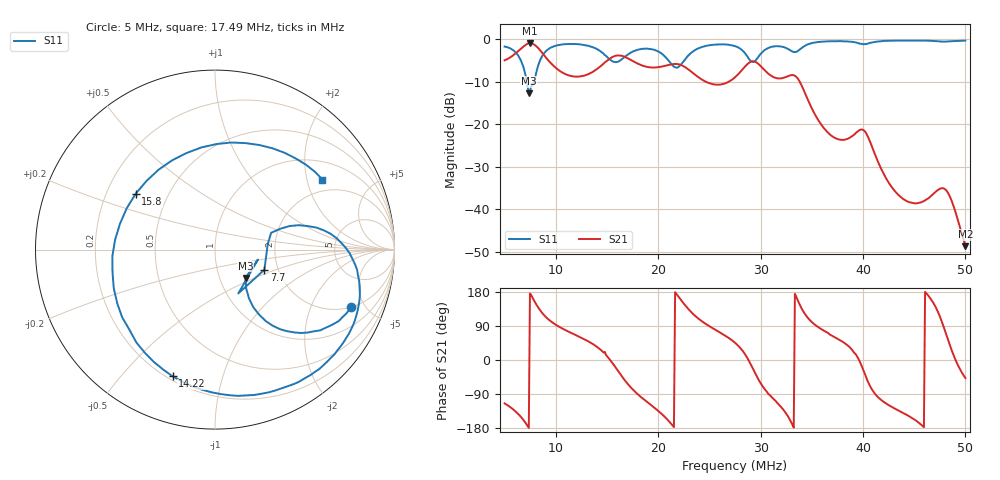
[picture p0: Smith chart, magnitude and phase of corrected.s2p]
! S11/S21 only; reverse parameters are placeholders. Device calibration unverified.
! [Saver CAL applied] C:\Users\aknya\MyProjects\rf-simulator\calibration2.cal | Ideal standards assumed | Input: NanoVNA F V2 profile | COM3 | 2026-09-08T10:53:36.4103324-04:00 | device calibration unverified
# HZ S RI R 50
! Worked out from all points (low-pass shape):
!   401 points, 5 MHz to 50 MHz, reference 50 ohm
!   highest |S21| = -0.84 dB at 7.475 MHz (marker M1); lowest = -48.7 dB at 50 MHz (marker M2)
!   |S21| within 3 dB of the highest: 5.782 MHz to 8.893 MHz (3.111 MHz wide, 42.4 % of centre); 15.87 MHz to 16.38 MHz (516.7 kHz wide, 3.2 % of centre)
!   lowest |S11| = -12.7 dB at 7.362 MHz (marker M3), VSWR 1.60, Z = 66.3 - j22.1 ohm
!   |S11| at or under -10 dB: 7.166 MHz to 7.89 MHz (723.9 kHz wide, 9.62 % of centre)
!   S12 and S22 are empty: the file has one direction only
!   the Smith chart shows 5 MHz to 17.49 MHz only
!   S11 on the Smith chart (normalised r, x): 5 MHz: 1.98, -3.98; 7.7 MHz: 1.69, -0.42; 14.22 MHz: 0.22, -0.70; 15.8 MHz: 0.33, +0.29; 17.49 MHz: 1.56, +2.49
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5000000  0.7588 -0.3222  -0.2363 -0.5163  0 0  0 0
7362500  0.1701 -0.1575  -0.9036 -0.0109  0 0  0 0
7475000  0.2389 -0.0558  -0.9051 0.0708  0 0  0 0
7700000  0.275 -0.1124  -0.8582 0.2158  0 0  0 0
9725000  0.803 -0.1737  -0.0682 0.4913  0 0  0 0
1.25375e7  0.4396 -0.7491  0.1949 0.3136  0 0  0 0
1.4225e7  -0.2365 -0.706  0.4047 0.237  0 0  0 0
1.58e7  -0.4424 0.3108  0.6082 -0.2  0 0  0 0
1.74875e7  0.5986 0.3905  0.126 -0.5446  0 0  0 0
2.0075e7  0.3895 -0.5963  -0.3397 -0.3284  0 0  0 0
2.17625e7  -0.466 -0.023  -0.5123 0.0448  0 0  0 0
2.31125e7  0.139 0.6634  -0.2727 0.33  0 0  0 0
2.49125e7  0.7649 0.3683  -0.00298 0.3074  0 0  0 0
2.75e7  0.8176 -0.1675  0.2511 0.2558  0 0  0 0
2.9075e7  0.5291 -0.1605  0.5329 -0.1283  0 0  0 0
3.02e7  0.7141 -0.028  0.1617 -0.4289  0 0  0 0
3.3125e7  0.6644 -0.2752  -0.3767 -0.0543  0 0  0 0
3.50375e7  0.8427 -0.3357  -0.024 0.1495  0 0  0 0
4.01e7  0.6304 -0.6113  0.0726 -0.0438  0 0  0 0
4.2575e7  0.6163 -0.7394  -0.0101 -0.0173  0 0  0 0
4.7975e7  0.3796 -0.8631  0.00312 0.0171  0 0  0 0
5e7  0.3253 -0.9117  0.00248 -0.00273  0 0  0 0
